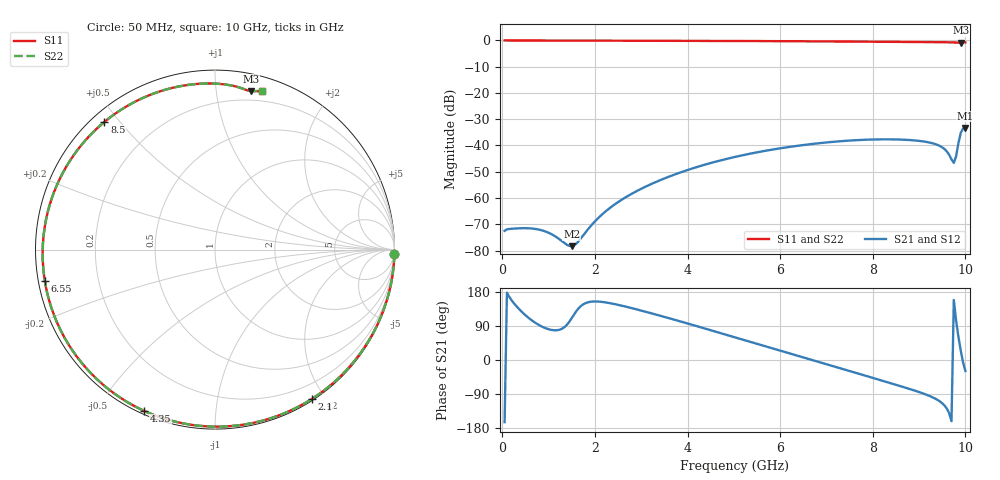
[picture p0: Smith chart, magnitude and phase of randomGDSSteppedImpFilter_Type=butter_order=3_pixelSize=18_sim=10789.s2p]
! freq	dB(S11)	phase(S11)	dB(S12)	phase(S12)
!  dB(S21)	phase(S21)	dB(S22)	phase(S22)
!S-par simulation data
#  GHz  S  DB  R 50
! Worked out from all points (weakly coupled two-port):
!   200 points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, 50 MHz to 10 GHz, reference 50 ohm
!   highest |S21| = -33.33 dB at 10 GHz (marker M1); lowest = -78.3 dB at 1.5 GHz (marker M2)
!   lowest |S11| = -0.9 dB at 9.9 GHz (marker M3), VSWR 20.09, Z = 6.37 + j62.2 ohm
!   |S11| at or under -10 dB: nowhere
!   |S22| runs from -0.9 to 0.0 dB; largest |S21 - S12| = 0
!   S11 on the Smith chart (normalised r, x): 50 MHz: 0, -82; 2.1 GHz: 0.02, -1.84; 4.35 GHz: 0.01, -0.65; 6.55 GHz: 0.02, -0.09; 8.5 GHz: 0.04, +0.46; 10 GHz: 0.12, +1.34
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0.05  -0.00 -1.4  -72.50 -164.1  -72.50 -164.1  -0.00 -1.4
0.4  -0.01 -11.1  -71.51 129.6  -71.51 129.6  -0.01 -11.1
0.8  -0.02 -22.1  -72.07 91.8  -72.07 91.8  -0.02 -22.1
1.5  -0.05 -41.1  -78.35 110.6  -78.35 110.6  -0.05 -41.1
1.75  -0.06 -47.8  -74.18 147.1  -74.18 147.1  -0.06 -47.8
2.1  -0.07 -57.0  -67.14 154.0  -67.14 154.0  -0.07 -57.0
2.65  -0.09 -71.3  -59.87 141.3  -59.87 141.3  -0.09 -71.3
3.4  -0.12 -90.3  -53.28 117.2  -53.28 117.2  -0.12 -90.3
4.35  -0.16 -113.8  -47.43 84.0  -47.43 84.0  -0.16 -113.9
5.05  -0.20 -131.1  -44.25 58.8  -44.25 58.8  -0.20 -131.1
5.85  -0.26 -151.2  -41.51 30.0  -41.51 30.0  -0.26 -151.2
6.55  -0.32 -169.6  -39.72 5.0  -39.72 5.0  -0.32 -169.6
6.7  -0.33 -173.6  -39.41 -0.3  -39.41 -0.3  -0.33 -173.7
7.55  -0.42 161.9  -38.07 -30.9  -38.07 -30.9  -0.42 161.9
8.35  -0.51 136.1  -37.66 -59.9  -37.66 -59.9  -0.51 136.1
8.5  -0.53 130.9  -37.70 -65.4  -37.70 -65.4  -0.53 130.9
9.4  -0.64 96.9  -39.79 -105.4  -39.79 -105.4  -0.64 96.9
9.6  -0.69 88.7  -42.29 -128.5  -42.29 -128.5  -0.69 88.7
9.75  -0.77 82.4  -46.63 158.6  -46.63 158.6  -0.77 82.4
9.8  -0.81 80.5  -44.08 103.6  -44.08 103.6  -0.81 80.4
9.9  -0.87 77.2  -35.20 24.7  -35.20 24.7  -0.87 77.2
10  -0.72 73.4  -33.33 -29.1  -33.33 -29.1  -0.73 73.3
